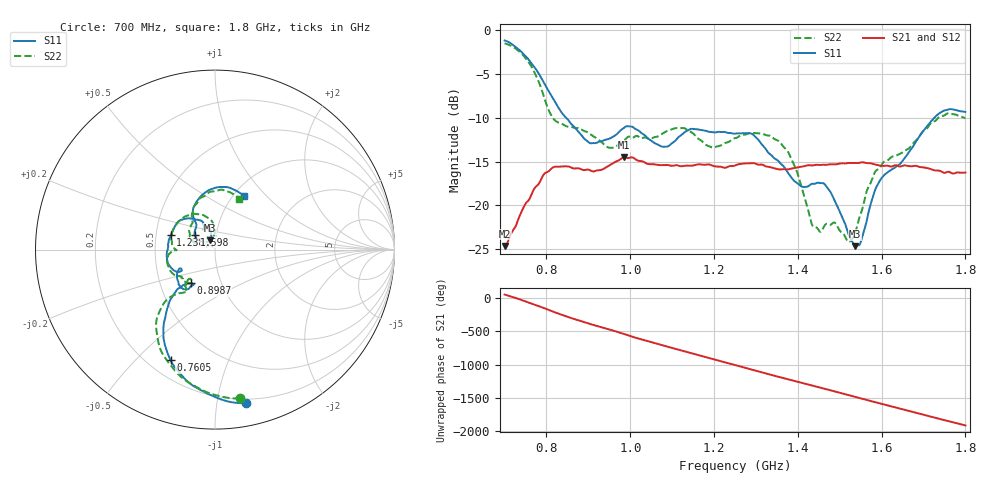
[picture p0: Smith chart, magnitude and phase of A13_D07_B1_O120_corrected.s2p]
! Created with skrf 1.9.0 (http://scikit-rf.org).
# Hz S RI R 50.0
!freq ReS11 ImS11 ReS21 ImS21 ReS12 ImS12 ReS22 ImS22
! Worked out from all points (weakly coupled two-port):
!   1601 points, 700 MHz to 1.8 GHz, reference 50 ohm
!   highest |S21| = -14.50 dB at 985.3 MHz (marker M1); lowest = -24.6 dB at 701.4 MHz (marker M2)
!   lowest |S11| = -24.7 dB at 1.537 GHz (marker M3), VSWR 1.12, Z = 47.2 + j4.96 ohm
!   |S11| at or under -10 dB: 847.3 MHz to 1.726 GHz (878.5 MHz wide, 68.3 % of centre)
!   |S22| runs from -24.2 to -1.5 dB; largest |S21 - S12| = 0.0036
!   S11 on the Smith chart (normalised r, x): 700 MHz: 0.17, -1.21; 760.5 MHz: 0.29, -0.64; 898.7 MHz: 0.71, -0.28; 1.238 GHz: 0.60, +0.10; 1.598 GHz: 0.79, +0.13; 1.8 GHz: 1.12, +0.76
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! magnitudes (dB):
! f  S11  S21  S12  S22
! 700 MHz  -1.2  -24.6  -24.4  -1.5
! 701.4 MHz  -1.2  -24.6  -24.2  -1.5
! 760.5 MHz  -3.6  -19.2  -19.0  -3.9
! 816.9 MHz  -7.9  -15.6  -15.7  -10.1
! 883.6 MHz  -12.0  -15.9  -15.8  -11.3
! 898.7 MHz  -12.7  -15.9  -16.0  -11.7
! 950.2 MHz  -12.4  -15.4  -15.4  -13.4
! 985.3 MHz  -11.1  -14.5  -14.6  -12.6
! 1.067 GHz  -13.1  -15.4  -15.3  -12.1
! 1.238 GHz  -11.7  -15.5  -15.6  -12.6
! 1.25 GHz  -11.8  -15.4  -15.4  -12.3
! 1.292 GHz  -11.9  -15.2  -15.2  -11.7
! 1.358 GHz  -15.2  -15.9  -15.9  -12.8
! 1.396 GHz  -17.4  -15.7  -15.7  -15.9
! 1.434 GHz  -17.5  -15.4  -15.4  -22.2
! 1.473 GHz  -18.1  -15.3  -15.3  -22.1
! 1.537 GHz  -24.7  -15.2  -15.2  -23.2
! 1.567 GHz  -21.2  -15.2  -15.2  -18.1
! 1.598 GHz  -17.0  -15.5  -15.4  -15.6
! 1.617 GHz  -16.1  -15.5  -15.5  -14.8
! 1.735 GHz  -9.6  -16.0  -16.1  -10.0
! 1.8 GHz  -9.3  -16.2  -16.2  -10.1
